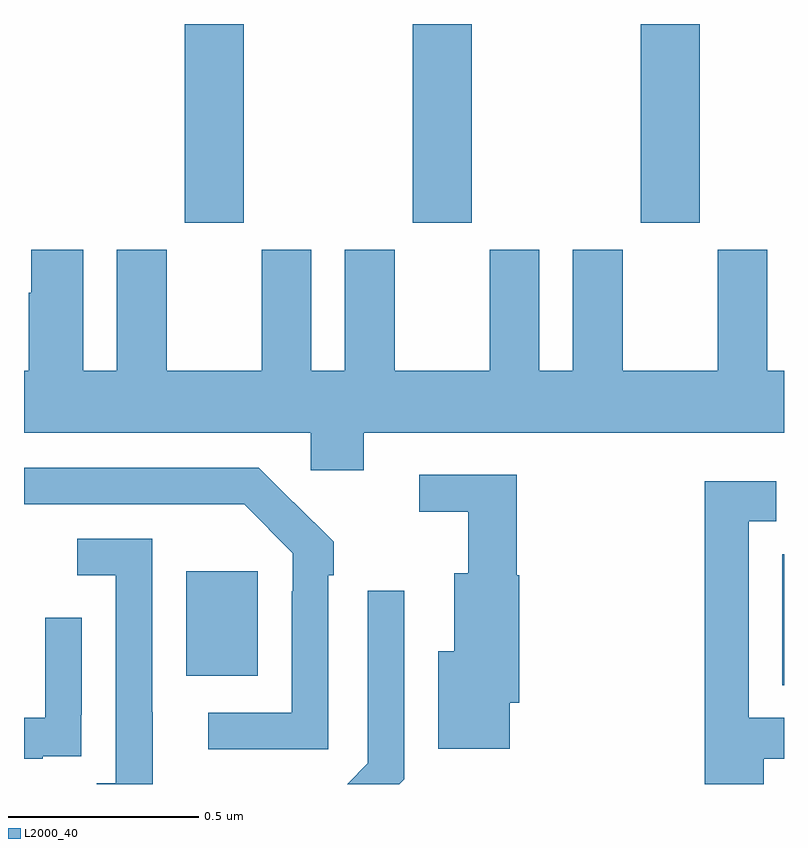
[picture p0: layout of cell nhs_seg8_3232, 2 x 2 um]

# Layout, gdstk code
import gdstk
lib = gdstk.Library(unit=1e-6, precision=1e-09)
def R(c, l, rs):  # rectangles x0, y0, x1, y1
    for r in rs: c.add(gdstk.rectangle(r[:2], r[2:], *l))
def A(c, l, x, y, w, h, nx, ny, dx, dy):  # array of equal rectangles
    R(c, l, [(x+i*dx, y+j*dy, x+i*dx+w, y+j*dy+h) for i in range(nx) for j in range(ny)])
def P(c, l, *ps):  # polygons
    for p in ps: c.add(gdstk.Polygon(p, *l))
L2000_40 = (2000, 40)

nhs_seg8_3232 = lib.new_cell('nhs_seg8_3232')
A(nhs_seg8_3232, L2000_40, 154.423, 1126.377, 0.155, 0.523, 3, 1, 0.6, 0)
R(nhs_seg8_3232, L2000_40, [(155.996,1125.16,156,1125.504), (154.427,1125.185,154.615,1125.46)])
P(nhs_seg8_3232, L2000_40, [(154.894,1125.824),(156,1125.824),(156,1125.988),(155.956,1125.988),(155.956,1126.306),(155.825,1126.306),(155.825,1125.988),(155.575,1125.988),(155.575,1126.306),(155.444,1126.306),(155.444,1125.988),(155.356,1125.988),(155.356,1126.306),(155.225,1126.306),(155.225,1125.988),(154.975,1125.988),(154.975,1126.306),(154.844,1126.306),(154.844,1125.988),(154.756,1125.988),(154.756,1126.306),(154.625,1126.306),(154.625,1125.988),(154.375,1125.988),(154.375,1126.306),(154.244,1126.306),(154.244,1125.988),(154.156,1125.988),(154.156,1126.306),(154.019,1126.306),(154.019,1126.193),(154.013,1126.193),(154.013,1125.988),(154,1125.988),(154,1125.824),(154.755,1125.824),(154.755,1125.726),(154.894,1125.726)],
  [(154.8,1125.449),(154.815,1125.449),(154.815,1125.537),(154.71,1125.642),(154.709,1125.641),(154.618,1125.732),(154,1125.732),(154,1125.636),(154.579,1125.636),(154.707,1125.507),(154.707,1125.407),(154.704,1125.407),(154.704,1125.087),(154.485,1125.087),(154.485,1124.991),(154.8,1124.991)],
  [(155.278,1125.114),(155.303,1125.114),(155.303,1125.45),(155.297,1125.45),(155.297,1125.714),(155.04,1125.714),(155.04,1125.617),(155.169,1125.617),(155.169,1125.454),(155.132,1125.454),(155.132,1125.25),(155.09,1125.25),(155.09,1124.993),(155.278,1124.993)],
  [(155.947,1124.967),(156,1124.967),(156,1125.075),(155.907,1125.075),(155.907,1125.591),(155.98,1125.591),(155.98,1125.697),(155.791,1125.697),(155.791,1124.9),(155.947,1124.9)],
  [(154.339,1125.089),(154.338,1125.089),(154.338,1125.546),(154.14,1125.546),(154.14,1125.45),(154.242,1125.45),(154.242,1124.902),(154.191,1124.902),(154.191,1124.9),(154.339,1124.9)],
  [(155.001,1124.913),(155.001,1125.409),(154.905,1125.409),(154.905,1124.955),(154.85,1124.9),(154.988,1124.9)],
  [(154.049,1124.973),(154.151,1124.973),(154.151,1125.082),(154.152,1125.082),(154.152,1125.337),(154.056,1125.337),(154.056,1125.075),(154,1125.075),(154,1124.967),(154.049,1124.967)])

lib.write_gds('nhs_seg8_3232.gds')
